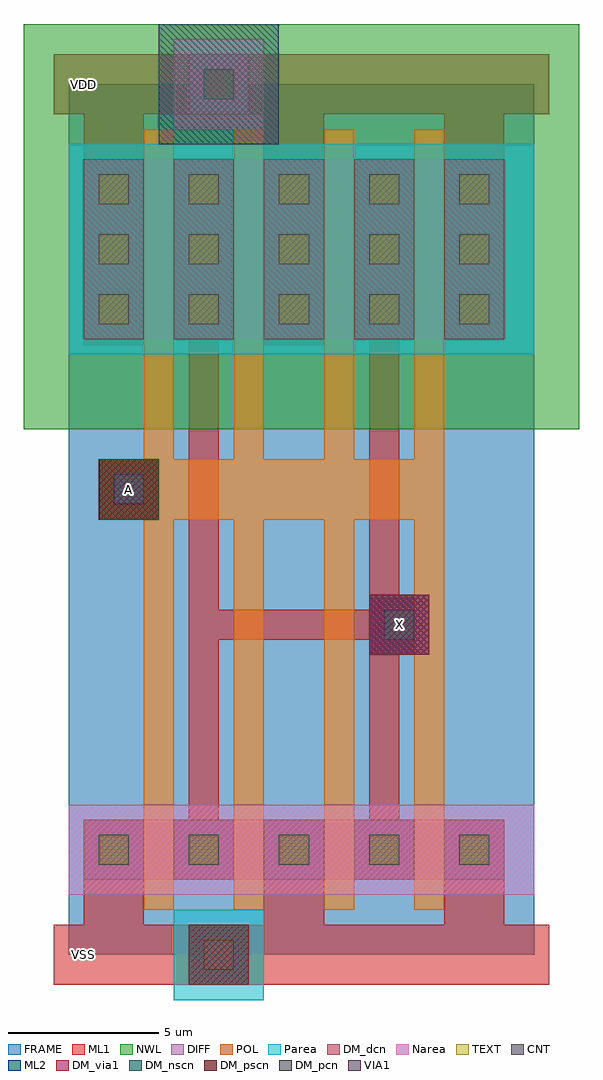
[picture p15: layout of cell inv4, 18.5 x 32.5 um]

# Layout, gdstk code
import gdstk
lib = gdstk.Library(unit=1e-6, precision=1e-09)
def R(c, l, rs):  # rectangles x0, y0, x1, y1
    for r in rs: c.add(gdstk.rectangle(r[:2], r[2:], *l))
NWL = (1, 0)
DIFF = (3, 0)
POL = (5, 0)
CNT = (7, 0)
ML1 = (8, 0)
VIA1 = (9, 0)
ML2 = (10, 0)
TEXT = (13, 0)
FRAME = (14, 0)
Parea = (18, 0)
Narea = (19, 0)
DM_dcn = (101, 0)
DM_pcn = (102, 0)
DM_nscn = (103, 0)
DM_pscn = (104, 0)
DM_via1 = (105, 0)

dcont = lib.new_cell('dcont')
R(dcont, DIFF, [(-1,-1,1,1)])
R(dcont, CNT, [(-0.5,-0.5,0.5,0.5)])
R(dcont, ML1, [(-1,-1,1,1)])
R(dcont, TEXT, [(-0.5,-0.5,0.5,0.5)])
R(dcont, DM_dcn, [(-1,-1,1,1)])
dcont.add(gdstk.Label('dcont', (0,0), layer=13, texttype=0))

via = lib.new_cell('Via')
R(via, ML1, [(-1,-1,1,1)])
R(via, VIA1, [(-0.5,-0.5,0.5,0.5)])
R(via, ML2, [(-1,-1,1,1)])
R(via, TEXT, [(-0.5,-0.5,0.5,0.5)])
R(via, DM_via1, [(-1,-1,1,1)])
via.add(gdstk.Label('via', (0,0), layer=13, texttype=0))

psubcont = lib.new_cell('psubcont')
R(psubcont, Parea, [(-1.5,-1.5,1.5,1.5)])
R(psubcont, DM_pscn, [(-1,-1,1,1)])
psubcont.add(gdstk.Reference(dcont, (0,0)))
psubcont.add(gdstk.Label('PScon', (0,0), layer=13, texttype=0))

nsubcont = lib.new_cell('nsubcont')
R(nsubcont, NWL, [(-2,-2,2,2)])
R(nsubcont, Narea, [(-1.5,-1.5,1.5,1.5)])
R(nsubcont, DM_nscn, [(-2,-2,2,2)])
nsubcont.add(gdstk.Reference(dcont, (0,0)))
nsubcont.add(gdstk.Label('NScont', (0,0), layer=13, texttype=0))

pcont = lib.new_cell('pcont')
R(pcont, POL, [(-1,-1,1,1)])
R(pcont, CNT, [(-0.5,-0.5,0.5,0.5)])
R(pcont, ML1, [(-1,-1,1,1)])
R(pcont, DM_pcn, [(-1,-1,1,1)])
pcont.add(gdstk.Label('pcont', (0,0), layer=13, texttype=0))

inv4 = lib.new_cell('inv4')
R(inv4, NWL, [(-1.5,17.5,17,31)])
R(inv4, DIFF, [(0.5,2.5,14.5,4.5), (0.5,20.5,14.5,26.5)])
R(inv4, ML1, [(-0.5,-1,16,1), (10,10,12,12), (1,14.5,3,16.5), (-0.5,28,16,30)])
R(inv4, ML2, [(10,10,12,12), (1,14.5,3,16.5)])
R(inv4, FRAME, [(0,0,15.5,29)])
R(inv4, Parea, [(0,20,15.5,27)])
R(inv4, Narea, [(0,2,15.5,5)])
R(inv4, DM_via1, [(10,10,12,12), (1,14.5,3,16.5)])
inv4.add(gdstk.FlexPath([(3,2),(3,15),(12,15)], 1, ends="extended", simple_path=True, layer=5, datatype=0))  # POL
inv4.add(gdstk.FlexPath([(3,27),(3,16),(12,16)], 1, ends="extended", simple_path=True, layer=5, datatype=0))  # POL
inv4.add(gdstk.FlexPath([(9,2),(9,27)], 1, ends="extended", simple_path=True, layer=5, datatype=0))  # POL
inv4.add(gdstk.FlexPath([(12,27),(12,2)], 1, ends="extended", simple_path=True, layer=5, datatype=0))  # POL
inv4.add(gdstk.FlexPath([(6,27),(6,2)], 1, ends="extended", simple_path=True, layer=5, datatype=0))  # POL
inv4.add(gdstk.FlexPath([(13.5,0.5),(13.5,3.5)], 2, ends="extended", simple_path=True, layer=8, datatype=0))  # ML1
inv4.add(gdstk.FlexPath([(13.5,21.6),(13.5,28.5)], 2, ends="extended", simple_path=True, layer=8, datatype=0))  # ML1
inv4.add(gdstk.FlexPath([(10.5,20.5),(10.5,3.8)], 1, ends="extended", simple_path=True, layer=8, datatype=0))  # ML1
inv4.add(gdstk.FlexPath([(10.5,22.3),(10.5,25.5)], 1.4, ends="extended", simple_path=True, layer=8, datatype=0))  # ML1
inv4.add(gdstk.FlexPath([(4.5,11),(10.8,11)], 1, ends="extended", simple_path=True, layer=8, datatype=0))  # ML1
inv4.add(gdstk.FlexPath([(7.5,0.5),(7.5,3.5)], 2, ends="extended", simple_path=True, layer=8, datatype=0))  # ML1
inv4.add(gdstk.FlexPath([(7.5,21.3),(7.5,28.5)], 2, ends="extended", simple_path=True, layer=8, datatype=0))  # ML1
inv4.add(gdstk.FlexPath([(4.5,22.3),(4.5,25.5)], 1.4, ends="extended", simple_path=True, layer=8, datatype=0))  # ML1
inv4.add(gdstk.FlexPath([(4.5,20.5),(4.5,3.5)], 1, ends="extended", simple_path=True, layer=8, datatype=0))  # ML1
inv4.add(gdstk.FlexPath([(1.5,21.3),(1.5,28.5)], 2, ends="extended", simple_path=True, layer=8, datatype=0))  # ML1
inv4.add(gdstk.FlexPath([(1.5,0.5),(1.5,3.5)], 2, ends="extended", simple_path=True, layer=8, datatype=0))  # ML1
inv4.add(gdstk.Reference(dcont, (4.5,23.5)))
inv4.add(gdstk.Reference(dcont, (7.5,3.5)))
inv4.add(gdstk.Reference(dcont, (10.5,21.5)))
inv4.add(gdstk.Reference(dcont, (10.5,25.5)))
inv4.add(gdstk.Reference(dcont, (1.5,23.5)))
inv4.add(gdstk.Reference(dcont, (7.5,21.5)))
inv4.add(gdstk.Reference(dcont, (13.5,23.5)))
inv4.add(gdstk.Reference(dcont, (13.5,3.5)))
inv4.add(gdstk.Reference(dcont, (1.5,3.5)))
inv4.add(gdstk.Reference(dcont, (7.5,23.5)))
inv4.add(gdstk.Reference(via, (2,15.5)))
inv4.add(gdstk.Reference(dcont, (4.5,3.5)))
inv4.add(gdstk.Reference(dcont, (13.5,21.5)))
inv4.add(gdstk.Reference(dcont, (1.5,21.5)))
inv4.add(gdstk.Reference(psubcont, (5,0)))
inv4.add(gdstk.Reference(dcont, (10.5,23.5)))
inv4.add(gdstk.Reference(dcont, (10.5,3.5)))
inv4.add(gdstk.Reference(dcont, (4.5,25.5)))
inv4.add(gdstk.Reference(dcont, (7.5,25.5)))
inv4.add(gdstk.Reference(via, (11,11)))
inv4.add(gdstk.Reference(nsubcont, (5,29)))
inv4.add(gdstk.Reference(dcont, (1.5,25.5)))
inv4.add(gdstk.Reference(dcont, (4.5,21.5)))
inv4.add(gdstk.Reference(pcont, (2,15.5)))
inv4.add(gdstk.Reference(dcont, (13.5,25.5)))
inv4.add(gdstk.Label('VDD', (0.5,29), layer=8, texttype=0))
inv4.add(gdstk.Label('VSS', (0.5,0), layer=8, texttype=0))
inv4.add(gdstk.Label('A', (2,15.5), layer=10, texttype=0))
inv4.add(gdstk.Label('X', (11,11), layer=10, texttype=0))
inv4.add(gdstk.Label('via', (11,11), layer=13, texttype=0))
inv4.add(gdstk.Label('via', (2,15.5), layer=13, texttype=0))

lib.write_gds('inv4.gds')
